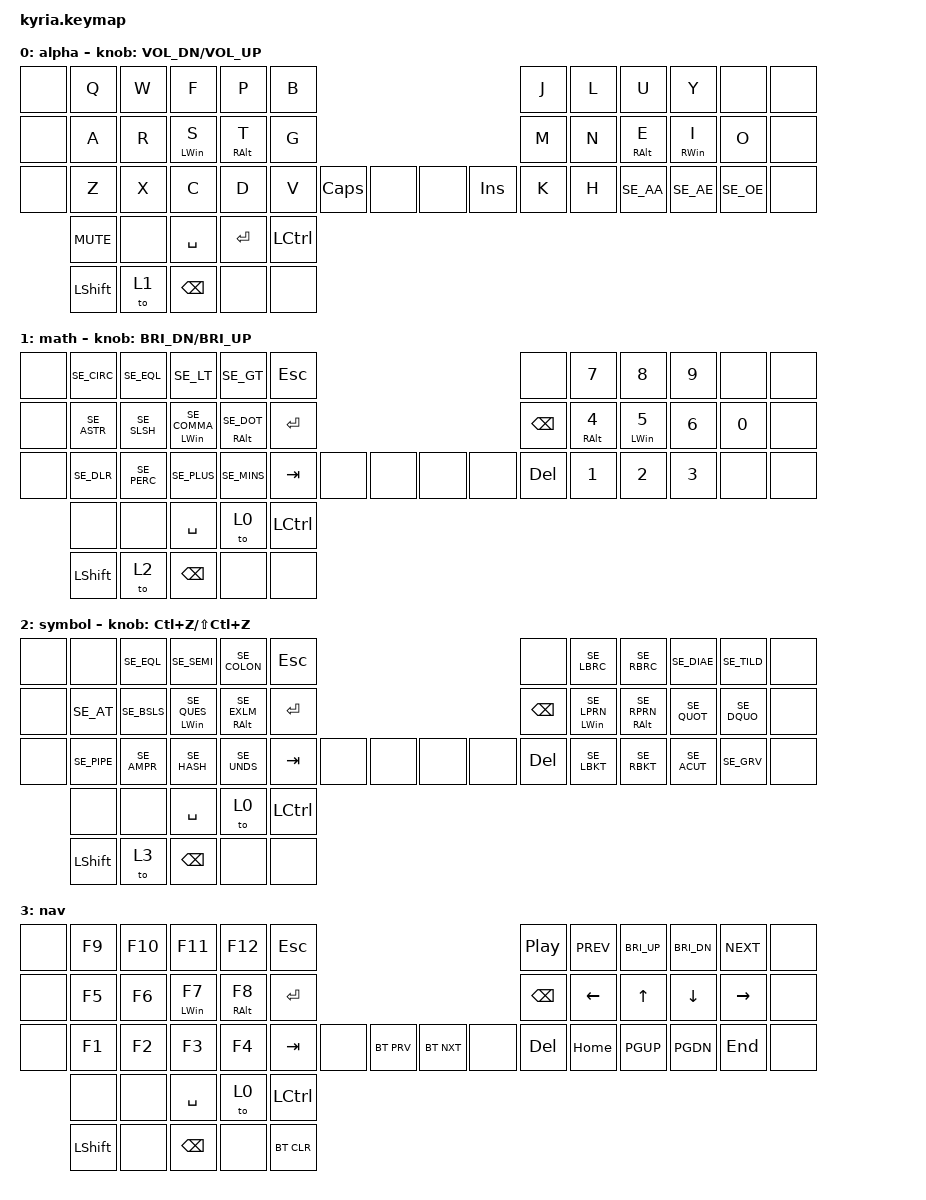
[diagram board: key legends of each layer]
/*
 * Copyright (c) 2020 The ZMK Contributors
 *
 * SPDX-License-Identifier: MIT
 */

#include <behaviors.dtsi>
#include <dt-bindings/zmk/keys.h>
#include "keymap-swedish.h"
#include <dt-bindings/zmk/bt.h>

#define L0 0
#define L1 1
#define L2 2
#define L3 3

#define LL(layer) &ll layer layer

/ {
	behaviors {
		ll: layer_layer {
			compatible = "zmk,behavior-hold-tap";
			label = "LAYER_LAYER";
			#binding-cells = <2>;
			tapping_term_ms = <0>;
			quick_tap_ms = <0>;
			flavor = "hold-preferred";
			bindings = <&mo>, <&to>;
		};
		ld: layer_double_tap {
			compatible = "zmk,behavior-hold-tap";
			label = "LAYER_DOUBLE_TAP";
			#binding-cells = <2>;
			tapping_term_ms = <200>;
			quick_tap_ms = <200>;
			flavor = "balanced";
			bindings = <&mo>, <&kp>;
		};
		hm: homerow_mods {
			compatible = "zmk,behavior-hold-tap";
			label = "HOMEROW_MODS";
			#binding-cells = <2>;
			tapping-term-ms = <200>;
			quick_tap_ms = <0>;
			flavor = "balanced";
			bindings = <&kp>, <&kp>;
		};
		ml: mod_layer {
			compatible = "zmk,behavior-hold-tap";
			label = "MOD_LAYER";
			#binding-cells = <2>;
			tapping_term_ms = <0>;
			quick_tap_ms = <0>;
			flavor = "balanced";
			bindings = <&kp>, <&to>;
		};
  };
};

/ {
	keymap {
		compatible = "zmk,keymap";

		// ALPHA
		// ┌───────┬───────┬───────┬───────┬───────┬───────┐                                       ┌───────┬───────┬───────┬───────┬───────┬───────┐
		// │       │   Q   │   W   │   F   │   P   │   B   │                                       │   J   │   L   │   U   │   Y   │       │       │
		// ├───────┼───────┼───────┼───────┼───────┼───────┤                                       ├───────┼───────┼───────┼───────┼───────┼───────┤
		// │       │       │       │  META │  ALT  │       │                                       │       │  ALT  │ META  │       │       │       │
		// │       │   A   │   R   │   S   │   T   │   G   │                                       │   M   │   N   │   E   │   I   │   O   │       │
		// ├───────┼───────┼───────┼───────┼───────┼───────┼───────┬───────┐       ┌───────┬───────┼───────┼───────┼───────┼───────┼───────┼───────┤
		// │       │   Z   │   X   │   C   │   D   │   V   │ CAPS  │       │       │       │  INS  │   K   │   H   │   Å   │  Ä/Ø  │  Ö/Æ  │       │
		// └───────┴───────┴───────┼───────┼───────┼───────┼───────┼───────┤       ├───────┼───────┼───────┼───────┼───────┼───────┴───────┴───────┘
		//                         │       │       │ SPACE │ ENTER │ CTRL  │       │ SHIFT │  L1   │ BSPC  │       │       │
		//                         └───────┴───────┴───────┴───────┴───────┘       └───────┴───────┴───────┴───────┴───────┘

		alpha {
			bindings = <
				&none  &kp Q       &kp W      &kp F       &kp P      &kp B                                     &kp J &kp L       &kp U       &kp Y      &none     &none
				&none  &kp A       &kp R      &hm LWIN S  &hm RALT T &kp G                                     &kp M &kp N       &hm RALT E  &hm RWIN I &kp O     &none
				&none  &kp Z       &kp X      &kp C       &kp D      &kp V &kp CAPS &none        &none &kp INS &kp K &kp H       &kp SE_AA   &kp SE_AE  &kp SE_OE &none
					
					&kp C_MUTE &none &kp SPACE &kp ENTER &kp LCTRL
					&kp LSHIFT &to L1 &kp BSPC &none &none
			>;
			sensor-bindings = <&inc_dec_kp C_VOL_DN C_VOL_UP>;
		};

		// MATH
		// ┌───────┬───────┬───────┬───────┬───────┬───────┐                                       ┌───────┬───────┬───────┬───────┬───────┬───────┐
		// │       │   ^   │   =   │   <   │   >   │  ESC  │                                       │       │   7   │   8   │   9   │       │       │
		// ├───────┼───────┼───────┼───────┼───────┼───────┤                                       ├───────┼───────┼───────┼───────┼───────┼───────┤
		// │       │       │       │  META │  ALT  │       │                                       │       │  ALT  │ META  │       │       │       │
		// │       │   *   │   /   │   ,   │   .   │ ENTER │                                       │  BSPC │   4   │   5   │   6   │   0   │       │
		// ├───────┼───────┼───────┼───────┼───────┼───────┼───────┬───────┐       ┌───────┬───────┼───────┼───────┼───────┼───────┼───────┼───────┤
		// │       │   $   │   %   │   +   │   -   │  TAB  │       │       │       │       │       │  DEL  │   1   │   2   │   3   │       │       │
		// └───────┴───────┴───────┼───────┼───────┼───────┼───────┼───────┤       ├───────┼───────┼───────┼───────┼───────┼───────┴───────┴───────┘
		//                         │       │       │ SPACE │  L0   │ CTRL  │       │ SHIFT │  L1   │ BSPC  │       │       │
		//                         └───────┴───────┴───────┴───────┴───────┘       └───────┴───────┴───────┴───────┴───────┘

		math {
			bindings = <
				&none &kp SE_CIRC  &kp SE_EQL  &kp SE_LT         &kp SE_GT       &kp ESC                               &none    &kp N7      &kp N8      &kp N9 &none  &none
				&none &kp SE_ASTR  &kp SE_SLSH &hm LWIN SE_COMMA &hm RALT SE_DOT &kp ENTER                             &kp BSPC &hm RALT N4 &hm LWIN N5 &kp N6 &kp N0 &none
				&none &kp SE_DLR   &kp SE_PERC &kp SE_PLUS       &kp SE_MINS     &kp TAB    &none &none    &none &none &kp DEL  &kp N1      &kp N2      &kp N3 &none  &none
					
					&none     &none &kp SPACE &to L0 &kp LCTRL
					&kp LSHIFT &to L2 &kp BSPC &none &none
			>;
			sensor-bindings = < &inc_dec_kp C_BRI_DN C_BRI_UP>;
		};


		// SYM                                                                                                                 
		// ┌───────┬───────┬───────┬───────┬───────┬───────┐                                       ┌───────┬───────┬───────┬───────┬───────┬───────┐
		// │       │   ^   │   =   │   ;   │   :   │  ESC  │                                       │       │   {   │   }   │   ¨   │   ~   │       │
		// ├───────┼───────┼───────┼───────┼───────┼───────┤                                       ├───────┼───────┼───────┼───────┼───────┼───────┤
		// │       │       │       │  META │  ALT  │       │                                       │       │  ALT  │ META  │       │       │       │
		// │       │   @   │   \   │   ?   │   !   │ ENTER │                                       │  BSPC │   (   │   )   │   '   │   "   │       │
		// ├───────┼───────┼───────┼───────┼───────┼───────┼───────┬───────┐       ┌───────┬───────┼───────┼───────┼───────┼───────┼───────┼───────┤
		// │       │   |   │   &   │   #   │   _   │  TAB  │       │       │       │       │       │  DEL  │   [   │   ]   │   ´   │   `   │       │
		// └───────┴───────┴───────┼───────┼───────┼───────┼───────┼───────┤       ├───────┼───────┼───────┼───────┼───────┼───────┴───────┴───────┘
		//                         │       │       │ SPACE │  L0   │ CTRL  │       │ SHIFT │  L1   │ BSPC  │       │       │
		//                         └───────┴───────┴───────┴───────┴───────┘       └───────┴───────┴───────┴───────┴───────┘

		symbol {
			bindings = <
				&none &none       &kp SE_EQL  &kp SE_SEMI      &kp SE_COLON     &kp ESC                               &none    &kp SE_LBRC      &kp SE_RBRC      &kp SE_DIAE &kp SE_TILD &none
				&none &kp SE_AT   &kp SE_BSLS &hm LWIN SE_QUES &hm RALT SE_EXLM &kp ENTER                             &kp BSPC &hm LWIN SE_LPRN &hm RALT SE_RPRN &kp SE_QUOT &kp SE_DQUO &none
				&none &kp SE_PIPE &kp SE_AMPR &kp SE_HASH      &kp SE_UNDS      &kp TAB    &none &none    &none &none &kp DEL  &kp SE_LBKT      &kp SE_RBKT      &kp SE_ACUT &kp SE_GRV  &none
					
					&none     &none &kp SPACE &to L0 &kp LCTRL   
					&kp LSHIFT &to L3 &kp BSPC &none &none
			>;
			sensor-bindings = <&inc_dec_kp LC(Z) LS(LC(Z))>;
		};

		// NAV
		// ┌───────┬───────┬───────┬───────┬───────┬───────┐                                       ┌───────┬───────┬───────┬───────┬───────┬───────┐
		// │       │   F9  │  F10  │  F11  │  F12  │  ESC  │                                       │ PL/PS │  PREV │ BRIUP │ BRIDN │ NEXT  │       │
		// ├───────┼───────┼───────┼───────┼───────┼───────┤                                       ├───────┼───────┼───────┼───────┼───────┼───────┤
		// │       │       │       │  META │  ALT  │       │                                       │       │       │       │       │       │       │
		// │       │   F5  │   F6  │   F7  │   F8  │ ENTER │                                       │  BSPC │   ←   │   ↑   │   ↓   │   →   │       │
		// ├───────┼───────┼───────┼───────┼───────┼───────┼───────┬───────┐       ┌───────┬───────┼───────┼───────┼───────┼───────┼───────┼───────┤
		// │       │   F1  │   F2  │   F3  │   F4  │  TAB  │       │       │       │       │       │  DEL  │  HOME │ PGUP  │ PGDN  │  END  │       │
		// └───────┴───────┴───────┼───────┼───────┼───────┼───────┼───────┤       ├───────┼───────┼───────┼───────┼───────┼───────┴───────┴───────┘
		//                         │       │       │ SPACE │  L0   │ CTRL  │       │ SHIFT │       │ BSPC  │       │       │
		//                         └───────┴───────┴───────┴───────┴───────┘       └───────┴───────┴───────┴───────┴───────┘

		nav {
			bindings = <
				&none &kp F9 &kp F10 &kp      F11 &kp      F12 &kp ESC                                           &kp C_PP &kp C_PREV &kp C_BRI_UP &kp C_BRI_DN &kp C_NEXT &none
				&none &kp F5 &kp  F6 &hm LWIN  F7 &hm RALT  F8 &kp ENTER                                         &kp BSPC &kp LEFT   &kp UP       &kp DOWN     &kp RIGHT  &none
				&none &kp F1 &kp  F2 &kp       F3 &kp       F4 &kp TAB   &none &bt BT_PRV       &bt BT_NXT &none &kp DEL  &kp HOME   &kp PGUP     &kp PGDN     &kp END    &none
					
					&none &none &kp SPACE &to L0 &kp LCTRL
					&kp LSHIFT &none &kp BSPC &none &bt BT_CLR
			>;
			// sensor-bindings = <&none>;
		};
	};
};




//	=== Gaming ===
//		gaming_layer {
// -------------------------------------------                                          ----------------------------------------------
// │    │   1    │  2   │  3   │  4   │  5   │                                          │       │      │      │      │       │       │
// -------------------------------------------                                          ----------------------------------------------
// │ H  │ SHIFT  │  A   │  W   │  D   │  Q   │                                          │       │      │      │      │       │       │
// ---------------------------------------------------------------  ------------------------------------------------------------------
// │ X  │ CTRL/C │  Q   │  S   │  R   │  G   │   ESC   │    B    │  │         │         │       │      │      │      │       │       │
// ---------------------------------------------------------------  ------------------------------------------------------------------
//                      │      │      │  F   │  SPACE  │    E    │  │         │         │       │      │      │ UNFINISHED!
//                      ------------------------------------------  -------------------------------------------
//			bindings = <
//	&kp C_MUTE &none  &kp C_PREV &kp C_PP  &kp C_NECT &none                                          &none &none &none &none &none &none
//	&none      &kp AT &kp PRCNT  &kp DLLR  &kp HASH   &none                                          &none &none &none &none &none &none
//	&none      &none  &none      &kp TILDE &none      &none &kp ESC &kp CAPS     &kp LSHFT &kp LSHFT &none &none &none &none &none &none

//	&mt LALT TAB &mt LCTRL RET    &mt LGUI BSPC &mt LSHIFT SPACE &to ALPHA
//	&to ALPHA    &mt LSHIFT SPACE &mt LGUI BSPC &mt LCTRL RET    &mt LALT TAB
//			>;

//			sensor-bindings = <&inc_dec_kp C_VOL_DN C_VOL_UP &inc_dec_kp LG(Z) LA(LG(Z))>;
//		};


// TEMPLATE
// ┌───────┬───────┬───────┬───────┬───────┬───────┐                                       ┌───────┬───────┬───────┬───────┬───────┬───────┐
// │       │       │       │       │       │       │                                       │       │       │       │       │       │       │
// ├───────┼───────┼───────┼───────┼───────┼───────┤                                       ├───────┼───────┼───────┼───────┼───────┼───────┤
// │       │       │       │       │       │       │                                       │       │       │       │       │       │       │
// │       │       │       │       │       │       │                                       │       │       │       │       │       │       │
// ├───────┼───────┼───────┼───────┼───────┼───────┼───────┬───────┐       ┌───────┬───────┼───────┼───────┼───────┼───────┼───────┼───────┤
// │       │       │       │       │       │       │       │       │       │       │       │       │       │       │       │       │       │
// └───────┴───────┴───────┼───────┼───────┼───────┼───────┼───────┤       ├───────┼───────┼───────┼───────┼───────┼───────┴───────┴───────┘
//                         │       │       │       │       │       │       │       │       │       │       │       │
//                         │       │       │       │       │       │       │       │       │       │       │       │
//                         └───────┴───────┴───────┴───────┴───────┘       └───────┴───────┴───────┴───────┴───────┘




// ALPHA
// ┌───────┬───────┬───────┬───────┬───────┬───────┐                                       ┌───────┬───────┬───────┬───────┬───────┬───────┐
// │       │   Q   │   W   │   F   │   P   │   B   │                                       │   J   │   L   │   U   │   Y   │       │       │
// ├───────┼───────┼───────┼───────┼───────┼───────┤                                       ├───────┼───────┼───────┼───────┼───────┼───────┤
// │       │       │       │  META │  ALT  │       │                                       │       │  ALT  │ META  │       │       │       │
// │       │   A   │   R   │   S   │   T   │   G   │                                       │   M   │   N   │   E   │   I   │   O   │       │
// ├───────┼───────┼───────┼───────┼───────┼───────┼───────┬───────┐       ┌───────┬───────┼───────┼───────┼───────┼───────┼───────┼───────┤
// │       │   Z   │   X   │   C   │   D   │   V   │       │       │       │       │       │   K   │   H   │   Å   │  Ä/Ø  │  Ö/Æ  │       │
// └───────┴───────┴───────┼───────┼───────┼───────┼───────┼───────┤       ├───────┼───────┼───────┼───────┼───────┼───────┴───────┴───────┘
//                         │       │       │       │       │  CTRL │       │       │       │       │       │       │
//                         │       │       │       │ SPACE │  L0   │       │ SHIFT │  L1   │       │       │       │
//                         └───────┴───────┴───────┴───────┴───────┘       └───────┴───────┴───────┴───────┴───────┘

// MATH
// ┌───────┬───────┬───────┬───────┬───────┬───────┐                                       ┌───────┬───────┬───────┬───────┬───────┬───────┐
// │       │   ^   │   =   │   <   │   >   │  ESC  │                                       │       │   7   │   8   │   9   │       │       │
// ├───────┼───────┼───────┼───────┼───────┼───────┤                                       ├───────┼───────┼───────┼───────┼───────┼───────┤
// │       │       │       │  META │  ALT  │       │                                       │       │  ALT  │ META  │       │       │       │
// │       │   *   │   /   │   ,   │   .   │ ENTER │                                       │  BSPC │   4   │   5   │   6   │   0   │       │
// ├───────┼───────┼───────┼───────┼───────┼───────┼───────┬───────┐       ┌───────┬───────┼───────┼───────┼───────┼───────┼───────┼───────┤
// │       │   $   │   %   │   +   │   -   │  TAB  │       │       │       │       │       │  DEL  │   1   │   2   │   3   │       │       │
// └───────┴───────┴───────┼───────┼───────┼───────┼───────┼───────┤       ├───────┼───────┼───────┼───────┼───────┼───────┴───────┴───────┘
//                         │       │       │       │       │  CTRL │       │       │       │       │       │       │
//                         │       │       │       │ SPACE │  L0   │       │ SHIFT │  L1   │       │       │       │
//                         └───────┴───────┴───────┴───────┴───────┘       └───────┴───────┴───────┴───────┴───────┘

// SYM                                                                                                                 
// ┌───────┬───────┬───────┬───────┬───────┬───────┐                                       ┌───────┬───────┬───────┬───────┬───────┬───────┐
// │       │   ^   │   =   │   ;   │   :   │  ESC  │                                       │       │   {   │   }   │   ¨   │   ~   │       │
// ├───────┼───────┼───────┼───────┼───────┼───────┤                                       ├───────┼───────┼───────┼───────┼───────┼───────┤
// │       │       │       │  META │  ALT  │       │                                       │       │  ALT  │ META  │       │       │       │
// │       │   @   │   \   │   ?   │   !   │ ENTER │                                       │  BSPC │   (   │   )   │   '   │   "   │       │
// ├───────┼───────┼───────┼───────┼───────┼───────┼───────┬───────┐       ┌───────┬───────┼───────┼───────┼───────┼───────┼───────┼───────┤
// │       │   |   │   &   │   #   │   _   │  TAB  │       │       │       │       │       │  DEL  │   [   │   ]   │   ´   │   `   │       │
// └───────┴───────┴───────┼───────┼───────┼───────┼───────┼───────┤       ├───────┼───────┼───────┼───────┼───────┼───────┴───────┴───────┘
//                         │       │       │       │       │  CTRL │       │       │       │       │       │       │
//                         │       │       │       │ SPACE │  L0   │       │ SHIFT │  L1   │       │       │       │
//                         └───────┴───────┴───────┴───────┴───────┘       └───────┴───────┴───────┴───────┴───────┘

// NAV
// ┌───────┬───────┬───────┬───────┬───────┬───────┐                                       ┌───────┬───────┬───────┬───────┬───────┬───────┐
// │       │   F9  │  F10  │  F11  │  F12  │  ESC  │                                       │       │  PREV │ BRIUP │ BRIDN │ NEXT  │       │
// ├───────┼───────┼───────┼───────┼───────┼───────┤                                       ├───────┼───────┼───────┼───────┼───────┼───────┤
// │       │       │       │  META │  ALT  │       │                                       │       │  ALT  │ META  │       │       │       │
// │       │   F5  │   F6  │   F7  │   F8  │ ENTER │                                       │  BSPC │   ←   │   ↑   │   ↓   │   →   │       │
// ├───────┼───────┼───────┼───────┼───────┼───────┼───────┬───────┐       ┌───────┬───────┼───────┼───────┼───────┼───────┼───────┼───────┤
// │       │   F1  │   F2  │   F3  │   F4  │  TAB  │       │       │       │       │       │  DEL  │  HOME │ PGUP  │ PGDN  │  END  │       │
// └───────┴───────┴───────┼───────┼───────┼───────┼───────┼───────┤       ├───────┼───────┼───────┼───────┼───────┼───────┴───────┴───────┘
//                         │       │       │       │       │  CTRL │       │       │       │       │       │       │
//                         │       │       │       │ SPACE │  L0   │       │ SHIFT │  L1   │       │       │       │
//                         └───────┴───────┴───────┴───────┴───────┘       └───────┴───────┴───────┴───────┴───────┘
